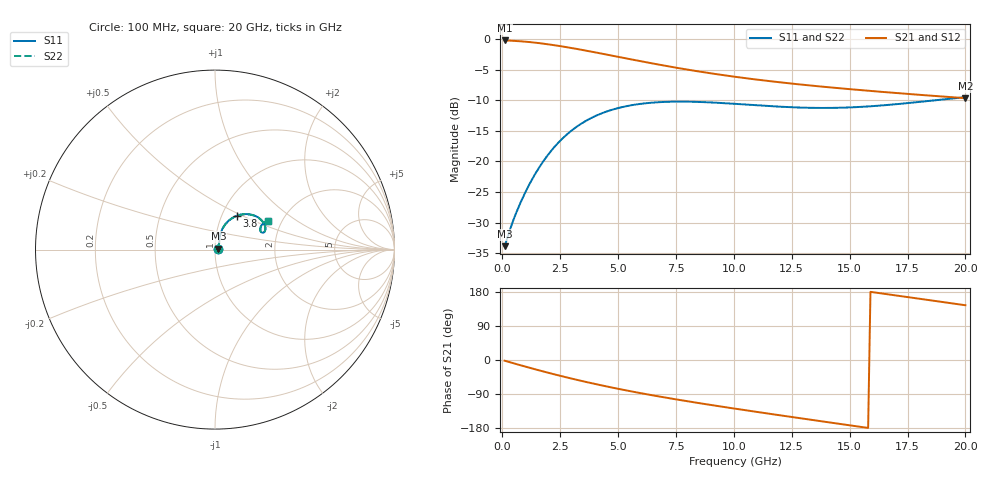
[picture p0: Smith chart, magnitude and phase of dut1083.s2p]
! Touchstone file exported from HFSS 2024.1.0
!  File:  C:/UserFiles/LocalFiles/RDL_TSV_Batchsim/temp_RDL_TSV_1083_1780095984.aedt
!  Generated:  07:19:38 AM May 30, 2026
!  Design:  RDL_TSV
!  Project:  temp_RDL_TSV_1083_1780095984
!  Setup:  Setup1
!  Solution:  Sweep
! Variables:
!  dtsv = 6.2um
!  hbump = 3um
!  htsv = 70.41um
!  ldown = 553.11um
!  lrdl = 379.71um
!  p = 40
!  p1 = 55.9um
!  rhole = 10um
!  subl = 3178.17um
!  t = 450um
!  tdown = 2.82um
!  trdl = 2.38um
!  viad = 10um
!  wdown = 23.85um
!  wrdl = 24.86um
!  xbump = 18um
# GHz S MA R 50.000000
! Terminal data exported
! Port[1] = TM1_1_T1
! Port[2] = TM1_4_T1
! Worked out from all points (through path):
!   200 points, 100 MHz to 20 GHz, reference 50 ohm
!   highest |S21| = -0.17 dB at 100 MHz (marker M1); lowest = -9.6 dB at 20 GHz (marker M2)
!   group delay of S21, straight-line fit = 28.2 ps
!   lowest |S11| = -33.9 dB at 100 MHz (marker M3), VSWR 1.04, Z = 52 + j0.603 ohm
!   |S11| at or under -10 dB: start of sweep to 18.62 GHz
!   |S22| runs from -33.9 to -9.5 dB; largest |S21 - S12| = 8.5e-15
!   S11 on the Smith chart (normalised r, x): 100 MHz: 1.04, +0.01; 3.8 GHz: 1.18, +0.47; 20 GHz: 1.70, +0.62
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0.1  0.02025 16.6  0.9804 -1.8  0.9804 -1.8  0.02025 16.6
! Gamma 0 0 0 0
! Port Impedance 50 0 50 0
0.5  0.03395 49.6  0.9731 -8.9  0.9731 -8.9  0.03395 49.6
0.8  0.04659 60.3  0.9648 -14.1  0.9648 -14.1  0.04659 60.3
1.2  0.06662 67.9  0.9503 -20.9  0.9503 -20.9  0.06661 67.8
1.6  0.08981 70.7  0.932 -27.5  0.932 -27.5  0.08975 70.6
2  0.1151 70.7  0.9108 -34.0  0.9108 -34.0  0.115 70.6
2.5  0.1478 68.3  0.8813 -41.7  0.8813 -41.7  0.1476 68.2
3  0.1797 64.4  0.8496 -49.2  0.8496 -49.2  0.1795 64.4
3.5  0.2091 59.9  0.817 -56.3  0.817 -56.3  0.2087 59.8
3.8  0.225 57.1  0.7972 -60.5  0.7972 -60.5  0.2246 57.0
4.4  0.2525 51.4  0.758 -68.4  0.758 -68.4  0.252 51.3
5.1  0.2769 45.1  0.714 -77.2  0.714 -77.2  0.2762 45.0
5.9  0.2954 38.7  0.6671 -86.6  0.6671 -86.6  0.2946 38.6
6.8  0.3063 32.6  0.6197 -96.5  0.6197 -96.5  0.3055 32.5
8.4  0.3078 24.7  0.5496 -112.8  0.5496 -112.8  0.3068 24.6
10.1  0.2962 20.3  0.4927 -128.9  0.4927 -128.9  0.2951 20.2
11.7  0.2831 19.4  0.4517 -143.3  0.4517 -143.3  0.282 19.4
13.4  0.275 21.3  0.4175 -158.3  0.4175 -158.3  0.2739 21.3
15  0.2773 24.3  0.3913 -172.3  0.3913 -172.3  0.2763 24.4
16.7  0.2911 27.3  0.3678 172.9  0.3678 172.9  0.2902 27.4
18.4  0.3131 28.8  0.3473 158.2  0.3473 158.2  0.3123 28.9
20  0.3365 28.6  0.33 144.5  0.33 144.5  0.3359 28.7
